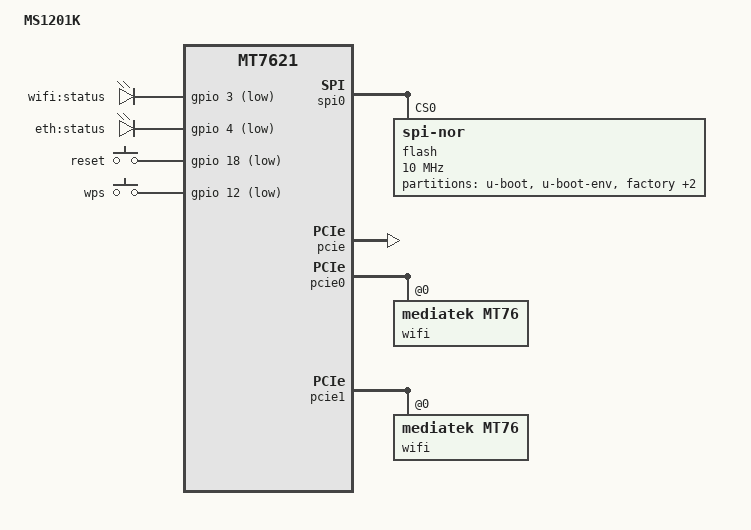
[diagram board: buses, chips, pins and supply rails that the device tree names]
/dts-v1/;

#include "mt7621.dtsi"

#include <dt-bindings/gpio/gpio.h>
#include <dt-bindings/input/input.h>

/ {
	compatible = "xwrt,ms1201k", "mediatek,mt7621-soc";
	model = "MS1201K";

	aliases {
		label-mac-device = &ethernet;
	};

	chosen {
		bootargs = "console=ttyS0,57600";
	};

	leds {
		compatible = "gpio-leds";

		wifi_led: wifi_led {
			label = "wifi:status";
			gpios = <&gpio 3 GPIO_ACTIVE_LOW>;
		};

		eth_led: eth_led {
			label = "eth:status";
			gpios = <&gpio 4 GPIO_ACTIVE_LOW>;
		};
	};


	keys {
		compatible = "gpio-keys";

		reset {
			label = "reset";
			gpios = <&gpio 18 GPIO_ACTIVE_LOW>;
			linux,code = <KEY_RESTART>;
		};

		wps {
			label = "wps";
			gpios = <&gpio 12 GPIO_ACTIVE_LOW>;
			linux,code = <KEY_WPS_BUTTON>;
		};
	};
};

&spi0 {
	status = "okay";

	flash@0 {
		compatible = "jedec,spi-nor";
		reg = <0>;
		spi-max-frequency = <10000000>;

		partitions {
			compatible = "fixed-partitions";
			#address-cells = <1>;
			#size-cells = <1>;

			partition@0 {
				label = "u-boot";
				reg = <0x0 0x30000>;
				read-only;
			};

			partition@30000 {
				label = "u-boot-env";
				reg = <0x30000 0x10000>;
				read-only;
			};

			factory: partition@40000 {
				label = "factory";
				reg = <0x40000 0x10000>;
			};

			partition@50000 {
				compatible = "denx,uimage";
				label = "firmware";
				reg = <0x50000 0xfa0000>;
			};

			partition@ff0000 {
				label = "fota";
				reg = <0xff0000 0x10000>;
			};
		};
	};
};

&pcie {
	status = "okay";
};

&pcie0 {
	wifi@0,0 {
		compatible = "mediatek,mt76";
		reg = <0x0 0 0 0 0>;
		mediatek,mtd-eeprom = <&factory 0x0>;
		ieee80211-freq-limit = <2400000 2500000>;
	};
};

&pcie1 {
	wifi@0,0 {
		compatible = "mediatek,mt76";
		reg = <0x0 0 0 0 0>;
		mediatek,mtd-eeprom = <&factory 0x8000>;
		ieee80211-freq-limit = <5000000 6000000>;
	};
};

&ethernet {
	compatible = "mediatek,ralink-mt7621-eth";
	mediatek,switch = <&gsw>;
	mtd-mac-address = <&factory 0x28>;
};

&switch0 {
	/* must delete compatible property */
	/delete-property/ compatible;
	phy-mode = "rgmii";
};

&gsw {
	compatible = "mediatek,ralink-mt7621-gsw";
};

&pinctrl {
	state_default: pinctrl0 {
		gpio {
			groups = "i2c", "wdt";
			function = "gpio";
		};
	};
};
